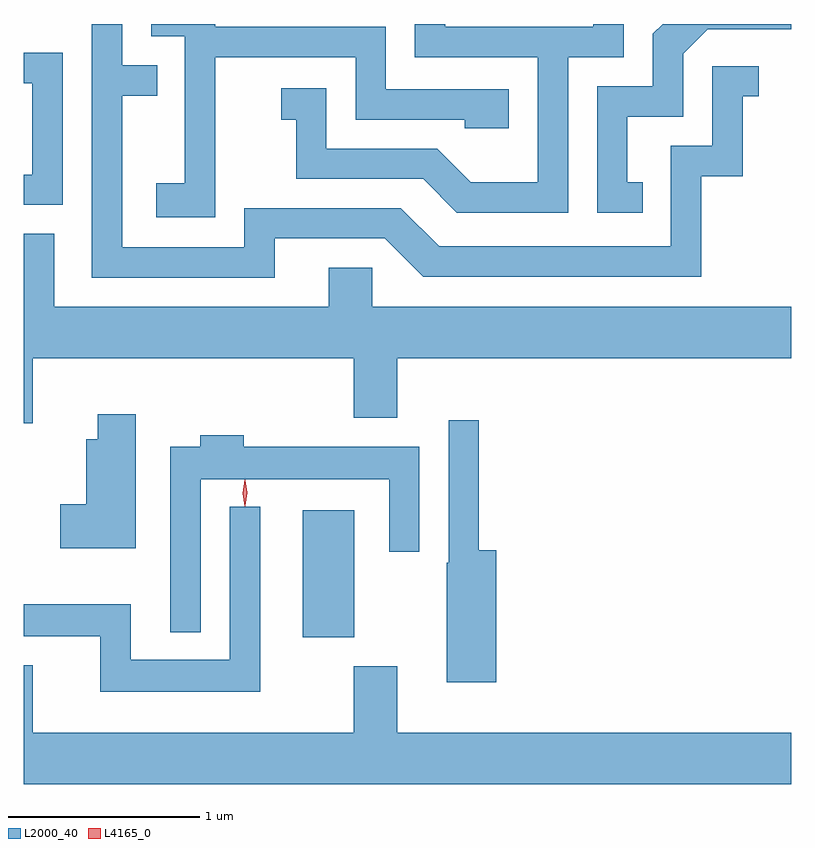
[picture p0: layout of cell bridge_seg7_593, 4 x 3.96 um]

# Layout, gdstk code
import gdstk
lib = gdstk.Library(unit=1e-6, precision=1e-09)
def R(c, l, rs):  # rectangles x0, y0, x1, y1
    for r in rs: c.add(gdstk.rectangle(r[:2], r[2:], *l))
def P(c, l, *ps):  # polygons
    for p in ps: c.add(gdstk.Polygon(p, *l))
L2000_40 = (2000, 40)
L4165_0 = (4165, 0)

bridge_seg7_593 = lib.new_cell('bridge_seg7_593')
R(bridge_seg7_593, L2000_40, [(637.796,1750.601,638.064,1751.264)])
P(bridge_seg7_593, L2000_40, [(639.179,1753.626),(639.469,1753.626),(639.469,1753.799),(639.311,1753.799),(639.311,1753.784),(638.539,1753.784),(638.539,1753.799),(638.381,1753.799),(638.381,1753.626),(639.021,1753.626),(639.021,1752.974),(638.672,1752.974),(638.497,1753.149),(637.919,1753.149),(637.919,1753.464),(637.683,1753.464),(637.683,1753.301),(637.761,1753.301),(637.761,1752.991),(638.424,1752.991),(638.599,1752.816),(639.179,1752.816)],
  [(637.339,1753.626),(638.071,1753.626),(638.071,1753.301),(638.641,1753.301),(638.641,1753.256),(638.869,1753.256),(638.869,1753.459),(638.229,1753.459),(638.229,1753.784),(637.339,1753.784),(637.339,1753.799),(637.006,1753.799),(637.006,1753.736),(637.181,1753.736),(637.181,1752.969),(637.031,1752.969),(637.031,1752.791),(637.339,1752.791)],
  [(637.649,1752.681),(638.224,1752.681),(638.424,1752.481),(639.874,1752.481),(639.874,1753.006),(640.089,1753.006),(640.089,1753.421),(640.173,1753.421),(640.173,1753.579),(639.931,1753.579),(639.931,1753.164),(639.716,1753.164),(639.716,1752.639),(638.507,1752.639),(638.307,1752.839),(637.491,1752.839),(637.491,1752.634),(636.854,1752.634),(636.854,1753.426),(637.038,1753.426),(637.038,1753.584),(636.854,1753.584),(636.854,1753.799),(636.696,1753.799),(636.696,1752.476),(637.649,1752.476)],
  [(639.568,1752.974),(639.489,1752.974),(639.489,1753.316),(639.779,1753.316),(639.779,1753.644),(639.907,1753.771),(640.342,1753.771),(640.342,1753.799),(639.673,1753.799),(639.621,1753.747),(639.621,1753.474),(639.331,1753.474),(639.331,1752.816),(639.568,1752.816)],
  [(636.544,1753.649),(636.342,1753.649),(636.342,1753.491),(636.386,1753.491),(636.386,1753.014),(636.342,1753.014),(636.342,1752.856),(636.544,1752.856)],
  [(636.389,1752.056),(638.061,1752.056),(638.061,1751.746),(638.289,1751.746),(638.289,1752.056),(640.342,1752.056),(640.342,1752.324),(638.159,1752.324),(638.159,1752.529),(637.931,1752.529),(637.931,1752.324),(636.499,1752.324),(636.499,1752.704),(636.342,1752.704),(636.342,1751.716),(636.389,1751.716)],
  [(636.924,1751.764),(636.726,1751.764),(636.726,1751.634),(636.666,1751.634),(636.666,1751.294),(636.531,1751.294),(636.531,1751.066),(636.924,1751.066)],
  [(638.804,1751.054),(638.714,1751.054),(638.714,1751.733),(638.556,1751.733),(638.556,1750.99),(638.546,1750.99),(638.546,1750.366),(638.804,1750.366)],
  [(637.264,1751.426),(638.246,1751.426),(638.246,1751.048),(638.404,1751.048),(638.404,1751.594),(637.489,1751.594),(637.489,1751.654),(637.261,1751.654),(637.261,1751.594),(637.106,1751.594),(637.106,1750.628),(637.264,1750.628)],
  [(637.574,1751.283),(637.416,1751.283),(637.416,1750.484),(636.899,1750.484),(636.899,1750.774),(636.342,1750.774),(636.342,1750.606),(636.741,1750.606),(636.741,1750.316),(637.574,1750.316)],
  [(640.342,1750.104),(638.289,1750.104),(638.289,1750.449),(638.061,1750.449),(638.061,1750.104),(636.389,1750.104),(636.389,1750.454),(636.342,1750.454),(636.342,1749.836),(640.342,1749.836)])
P(bridge_seg7_593, L4165_0, [(637.497,1751.287),(637.496,1751.288),(637.487,1751.354),(637.496,1751.42),(637.497,1751.421),(637.497,1751.42),(637.507,1751.354),(637.497,1751.288)],
  [(637.494,1751.284),(637.494,1751.284),(637.484,1751.353),(637.494,1751.422),(637.494,1751.423),(637.495,1751.422),(637.504,1751.353),(637.495,1751.284)])

lib.write_gds('bridge_seg7_593.gds')
